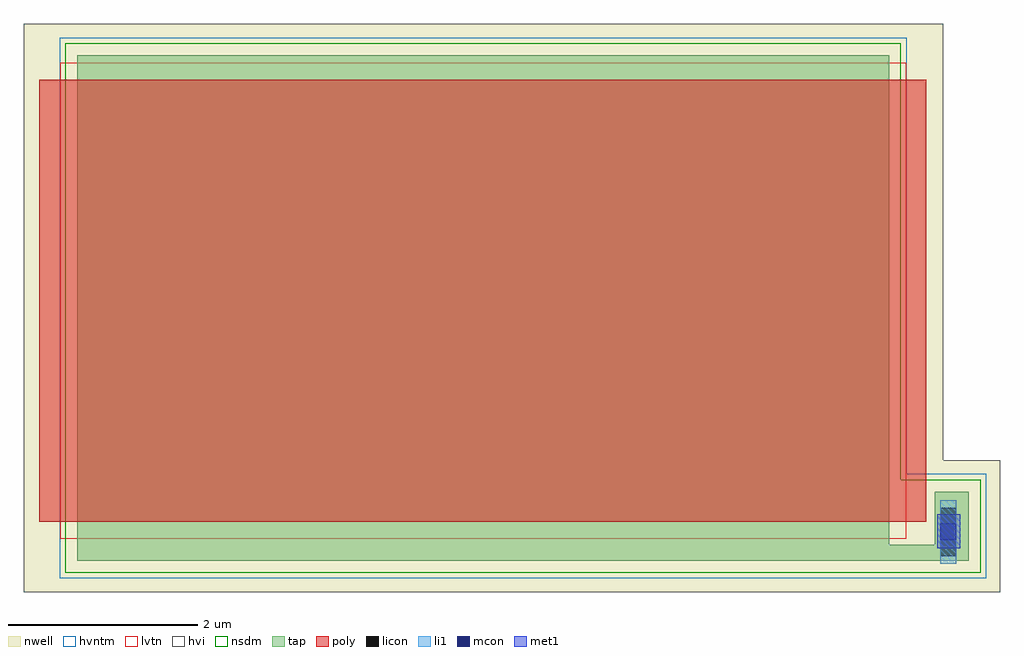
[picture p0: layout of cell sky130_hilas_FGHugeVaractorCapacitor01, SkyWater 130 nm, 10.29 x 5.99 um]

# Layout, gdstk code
import gdstk
lib = gdstk.Library(unit=1e-6, precision=1e-09)
def R(c, l, rs):  # rectangles x0, y0, x1, y1
    for r in rs: c.add(gdstk.rectangle(r[:2], r[2:], *l))
nwell = (64, 20)
tap = (65, 44)
poly = (66, 20)
licon = (66, 44)
li1 = (67, 20)
mcon = (67, 44)
met1 = (68, 20)
hvi = (75, 20)
nsdm = (93, 44)
hvntm = (125, 20)
lvtn = (125, 44)

sky130_hilas_fghugevarac = lib.new_cell('sky130_hilas_FGHugeVaractorCapacitor01')
R(sky130_hilas_fghugevarac, nwell, [(0,0,10.29,1.39), (0,1.39,9.69,5.99)])
R(sky130_hilas_fghugevarac, tap, [(0.56,0.33,9.96,0.5), (0.56,0.5,9.12,5.66), (9.6,0.5,9.96,1.06)])
R(sky130_hilas_fghugevarac, poly, [(0.16,0.74,9.51,5.4)])
R(sky130_hilas_fghugevarac, licon, [(9.66,0.38,9.83,0.55), (9.66,0.72,9.83,0.89)])
R(sky130_hilas_fghugevarac, li1, [(9.66,0.3,9.83,0.97)])
R(sky130_hilas_fghugevarac, mcon, [(9.66,0.55,9.83,0.72)])
R(sky130_hilas_fghugevarac, met1, [(9.63,0.46,9.87,0.82)])
R(sky130_hilas_fghugevarac, hvi, [(0,0,10.29,1.39), (0,1.39,9.69,5.99)])
R(sky130_hilas_fghugevarac, nsdm, [(0.435,0.205,10.085,1.185), (0.435,1.185,9.245,5.785)])
R(sky130_hilas_fghugevarac, hvntm, [(0.375,0.145,10.145,1.245), (0.375,1.245,9.305,5.845)])
R(sky130_hilas_fghugevarac, lvtn, [(0.38,0.56,9.3,5.58)])

lib.write_gds('sky130_hilas_FGHugeVaractorCapacitor01.gds')
